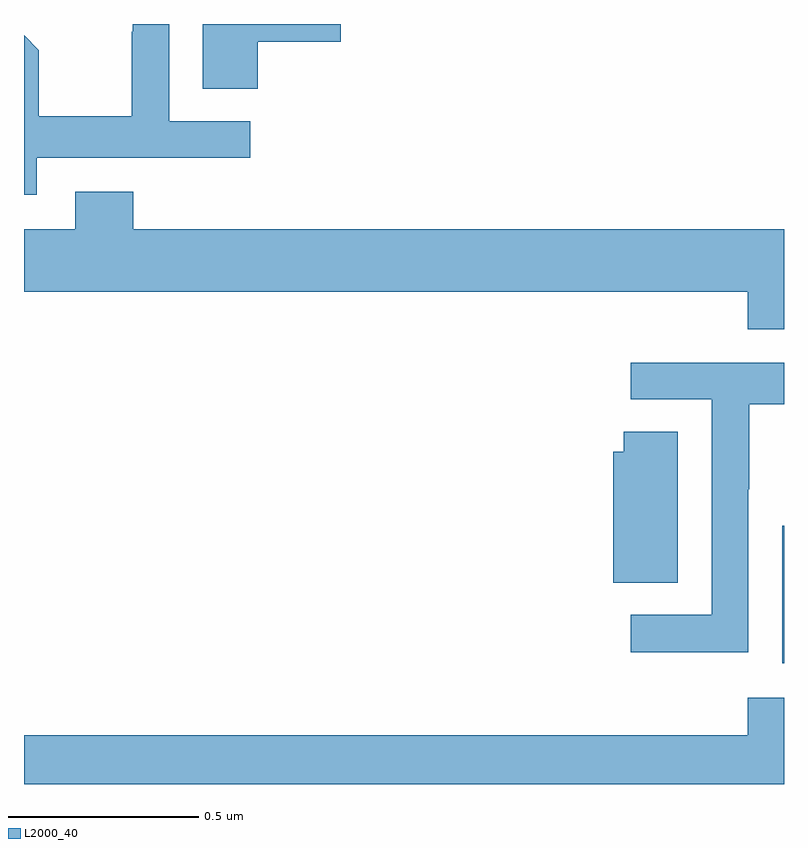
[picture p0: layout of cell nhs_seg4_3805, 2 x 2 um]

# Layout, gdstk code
import gdstk
lib = gdstk.Library(unit=1e-6, precision=1e-09)
def R(c, l, rs):  # rectangles x0, y0, x1, y1
    for r in rs: c.add(gdstk.rectangle(r[:2], r[2:], *l))
def P(c, l, *ps):  # polygons
    for p in ps: c.add(gdstk.Polygon(p, *l))
L2000_40 = (2000, 40)

nhs_seg4_3805 = lib.new_cell('nhs_seg4_3805')
R(nhs_seg4_3805, L2000_40, [(159.995,753.218,160,753.579)])
P(nhs_seg4_3805, L2000_40, [(158.615,754.853),(158.833,754.853),(158.833,754.9),(158.471,754.9),(158.471,754.729),(158.615,754.729)],
  [(158.034,754.548),(158.596,754.548),(158.596,754.644),(158.382,754.644),(158.382,754.9),(158.286,754.9),(158.286,754.88),(158.284,754.88),(158.284,754.657),(158.039,754.657),(158.039,754.831),(158,754.87),(158,754.451),(158.034,754.451)],
  [(160,754.36),(158.288,754.36),(158.288,754.459),(158.135,754.459),(158.135,754.36),(158,754.36),(158,754.196),(159.905,754.196),(159.905,754.097),(160,754.097)],
  [(159.906,753.676),(159.909,753.676),(159.909,753.9),(160,753.9),(160,754.008),(159.597,754.008),(159.597,753.912),(159.81,753.912),(159.81,753.345),(159.597,753.345),(159.597,753.247),(159.906,753.247)],
  [(159.721,753.827),(159.578,753.827),(159.578,753.774),(159.551,753.774),(159.551,753.43),(159.721,753.43)],
  [(160,753.127),(159.905,753.127),(159.905,753.028),(158,753.028),(158,752.9),(160,752.9)])

lib.write_gds('nhs_seg4_3805.gds')
